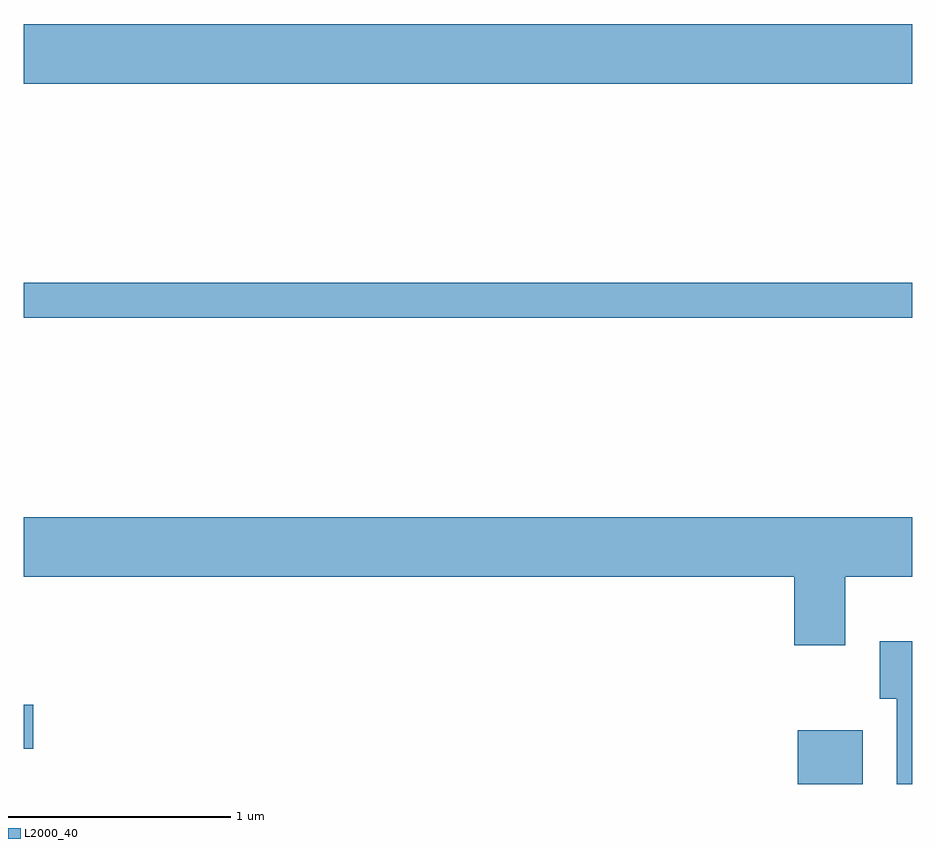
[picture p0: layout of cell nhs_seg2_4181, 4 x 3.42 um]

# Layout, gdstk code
import gdstk
lib = gdstk.Library(unit=1e-6, precision=1e-09)
def R(c, l, rs):  # rectangles x0, y0, x1, y1
    for r in rs: c.add(gdstk.rectangle(r[:2], r[2:], *l))
def P(c, l, *ps):  # polygons
    for p in ps: c.add(gdstk.Polygon(p, *l))
L2000_40 = (2000, 40)

nhs_seg2_4181 = lib.new_cell('nhs_seg2_4181')
R(nhs_seg2_4181, L2000_40, [(311.096,1071.802,311.389,1072.044), (307.611,1071.961,307.654,1072.159), (307.611,1073.901,311.611,1074.059), (307.611,1074.956,311.611,1075.224)])
P(nhs_seg2_4181, L2000_40, [(311.309,1072.736),(311.611,1072.736),(311.611,1073.004),(307.611,1073.004),(307.611,1072.736),(311.081,1072.736),(311.081,1072.426),(311.309,1072.426)],
  [(311.611,1072.444),(311.466,1072.444),(311.466,1072.186),(311.541,1072.186),(311.541,1071.802),(311.611,1071.802)])

lib.write_gds('nhs_seg2_4181.gds')
